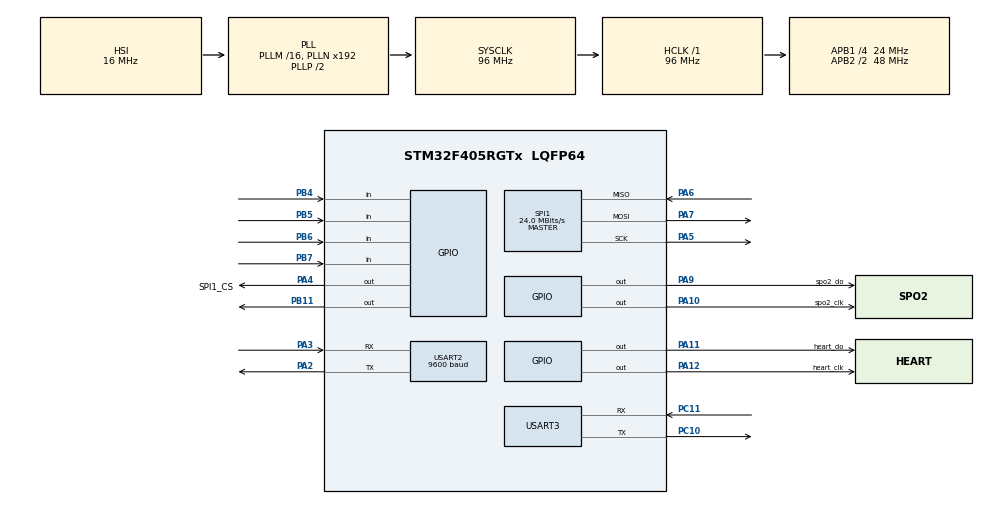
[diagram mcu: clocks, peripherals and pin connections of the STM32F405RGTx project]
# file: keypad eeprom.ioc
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Mcu.Family=STM32F4
Mcu.Name=STM32F405RGTx
Mcu.Package=LQFP64
NVIC.PriorityGroup=NVIC_PRIORITYGROUP_4
NVIC.SPI1_IRQn=true\:0\:0\:false\:false\:true\:true\:true\:true
NVIC.TIM3_IRQn=true\:15\:0\:false\:false\:true\:false\:true\:true
NVIC.TimeBase=TIM3_IRQn
NVIC.TimeBaseIP=TIM3
PA10.GPIO_Label=spo2_clk
PA10.Signal=GPIO_Output
PA11.GPIO_Label=heart_do
PA11.Signal=GPIO_Output
PA12.GPIO_Label=heart_clk
PA12.Signal=GPIO_Output
PA13.Mode=Serial_Wire
PA13.Signal=SYS_JTMS-SWDIO
PA14.Mode=Serial_Wire
PA14.Signal=SYS_JTCK-SWCLK
PA2.Mode=Asynchronous
PA2.Signal=USART2_TX
PA3.Mode=Asynchronous
PA3.Signal=USART2_RX
PA4.GPIO_Label=SPI1_CS
PA4.Signal=GPIO_Output
PA5.Mode=Full_Duplex_Master
PA5.Signal=SPI1_SCK
PA6.Mode=Full_Duplex_Master
PA6.Signal=SPI1_MISO
PA7.Mode=Full_Duplex_Master
PA7.Signal=SPI1_MOSI
PA9.GPIO_Label=spo2_do
PA9.Signal=GPIO_Output
PB11.Signal=GPIO_Output
PB4.Signal=GPIO_Input
PB5.Signal=GPIO_Input
PB6.Signal=GPIO_Input
PB7.Signal=GPIO_Input
PC10.Mode=Asynchronous
PC10.Signal=USART3_TX
PC11.Mode=Asynchronous
PC11.Signal=USART3_RX
ProjectManager.HeapSize=0x200
ProjectManager.StackSize=0x400
ProjectManager.TargetToolchain=STM32CubeIDE
RCC.AHBFreq_Value=96000000
RCC.APB1CLKDivider=RCC_HCLK_DIV4
RCC.APB1Freq_Value=24000000
RCC.APB1TimFreq_Value=48000000
RCC.APB2CLKDivider=RCC_HCLK_DIV2
RCC.APB2Freq_Value=48000000
RCC.APB2TimFreq_Value=96000000
RCC.CortexFreq_Value=96000000
RCC.HCLKFreq_Value=96000000
RCC.HSE_VALUE=25000000
RCC.HSI_VALUE=16000000
RCC.LSE_VALUE=32768
RCC.SYSCLKFreq_VALUE=96000000
RCC.SYSCLKSource=RCC_SYSCLKSOURCE_PLLCLK
RCC.VCOOutputFreq_Value=192000000
SPI1.BaudRatePrescaler=SPI_BAUDRATEPRESCALER_2
SPI1.CalculateBaudRate=24.0 MBits/s
SPI1.Direction=SPI_DIRECTION_2LINES
SPI1.Mode=SPI_MODE_MASTER
SPI1.VirtualType=VM_MASTER
USART2.BaudRate=9600
USART2.VirtualMode=VM_ASYNC
USART3.VirtualMode=VM_ASYNC
VP_SYS_VS_tim3.Mode=TIM3
board=custom

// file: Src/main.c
/* USER CODE BEGIN Header */
/**
  ******************************************************************************
  * @file           : main.c
  * @brief          : Main program body
  ******************************************************************************
  * @attention
  *
  * Copyright (c) 2025 STMicroelectronics.
  * All rights reserved.
  *
  * This software is licensed under terms that can be found in the LICENSE file
  * in the root directory of this software component.
  * If no LICENSE file comes with this software, it is provided AS-IS.
  *
  ******************************************************************************
  */
/* USER CODE END Header */
#include "main.h"
#include "spi.h"
#include "usart.h"
#include "gpio.h"

/* USER CODE BEGIN Includes */
#include "m95640_driver.h"
#include "FreeRTOS.h"
#include "task.h"
#include <stdio.h>
#include <string.h>
#include <stdbool.h>
#include "lcd.h"
#include "semphr.h"
#include "stm32f405xx.h"
#include "IR.h"
#include "hc05.h"
#include <stdint.h>
#include "tm1637.h"
SemaphoreHandle_t passkey_semaphore;
#define EEPROM_ADDRESS 0X0000  //
// === Keypad Configuration ===
const char keymap[4][4] = {
    {'1', '2', '3', 'A'},
    {'4', '5', '6', 'B'},
    {'7', '8', '9', 'C'},
    {'*', '0', '#', 'D'}
};
char key = 0;

uint32_t taskprofiler = 0;
/* USER CODE END Includes */

/* USER CODE BEGIN PTD */
void GPIO_Init(void);
void Task_Keypad(void *params);
char Keypad_Scan(void);
void displayTask(void *param);
void led_control(void);
void TempReadTask(void *params);

TM1637_Display spo2_display = {
		.clk_port = spo2_clk_GPIO_Port,
		.clk_pin = spo2_clk_Pin,
		.dio_port = spo2_do_GPIO_Port,
		.dio_pin = spo2_do_Pin,
		.brightness = 7
};
TM1637_Display heart_display = {
		.clk_port = heart_clk_GPIO_Port,
		.clk_pin = heart_clk_Pin,
		.dio_port = heart_do_GPIO_Port,
		.dio_pin = heart_do_Pin,
		.brightness = 7
};

// === GPIO Init ===
void GPIO_Init(void)
{
    RCC->AHB1ENR |= (1 << 0) | (1 << 1) | (1 << 2); // Enable GPIOA, GPIOB, GPIOC

    // PB2–PB5: Rows as output
    for (int i = 0; i < 4; i++) {
        GPIOB->MODER &= ~(3 << (i * 2));
        GPIOB->MODER |= (1 << (i * 2));
        GPIOB->ODR |= (1 << i); // Set high
    }

    // PB6–PB7: Columns as input pull-up
    for (int i = 4; i < 8; i++) {
        GPIOB->MODER &= ~(3 << (i * 2));
        GPIOB->PUPDR &= ~(3 << (i * 2));
        GPIOB->PUPDR |= (1 << (i * 2));
    }
    for (int i = 0; i <= 5; i++)
    GPIOC->MODER |= (1 << (i * 2));  // PCx as output

    // PC9 (Green) and PC10 (Red): LED output
    GPIOC->MODER &= ~(3 << (8 * 2));
    GPIOC->MODER |= (1 << (8 * 2));
    GPIOC->MODER &= ~(3 << (12 * 2));
    GPIOC->MODER |= (1 << (12 * 2));
}

// === LED Bar Graph Based on ADC Input ===
void led_control(void)
{
    //GPIOC->ODR &= ~((1 << 0) | (1 << 1) | (1 << 3) | (1 << 4) | (1 << 5)); // Clear PC0,1,3,4,5
    GPIOC->ODR |= (1 << 0) | (1 << 1) | (1 << 3) | (1 << 4) | (1 << 5);
//    if (adc_value < 300) {
//        GPIOC->ODR |= (1 << 0) | (1 << 1) | (1 << 3) | (1 << 4) | (1 << 5);
//    }
//    else if (adc_value < 500) {
//        GPIOC->ODR |= (1 << 0) | (1 << 1) | (1 << 3) | (1 << 4);
//    }
//    else if (adc_value < 1000) {
//        GPIOC->ODR |= (1 << 0) | (1 << 1) | (1 << 3);
//    }
//    else if (adc_value < 1500) {
//        GPIOC->ODR |= (1 << 0) | (1 << 1);
//    }
//    else if (adc_value < 2000) {
//        GPIOC->ODR |= (1 << 0);
//    }
//    else {
//        // No LEDs ON for adc >= 2000 (brightest)
//    }
}

// === Keypad Scan ===
char Keypad_Scan(void)
{
    const uint8_t row_pins[4] = {0, 1, 2, 3};        // PB2–PB5
    const uint8_t col_pins_B[4] = {4, 5, 6, 7};      // PB6–PB7

    for (int row = 0; row < 4; row++)
    {
        // Set all rows high first
        for (int r = 0; r < 4; r++)
            GPIOB->ODR |= (1 << row_pins[r]);

        // Pull current row low
        GPIOB->ODR &= ~(1 << row_pins[row]);

        vTaskDelay(pdMS_TO_TICKS(2)); // Debounce

        // Check PB6, PB7 (Columns)
        for (int col = 0; col < 4; col++)
        {
        	if ((GPIOB->IDR & (1 << col_pins_B[col])) == 0)
        	{
        	    vTaskDelay(pdMS_TO_TICKS(20));  // Debounce delay

        	    if ((GPIOB->IDR & (1 << col_pins_B[col])) == 0)  // Confirm key still pressed
        	    {
        	        while ((GPIOB->IDR & (1 << col_pins_B[col])) == 0); // Wait for release
        	        return keymap[row][col];
        	    }
        	}

        }
    }

    return 0; // No key press detected
}

uint8_t rx_buffer[4];

/* USER CODE END PTD */

/* USER CODE BEGIN PD */
// === Keypad Scan ===

void Task_Keypad(void *params)

{
    char entered[5] = {0};      // 4 digits + null
    char stored_pass[5] = {0};
    char key = 0;
    int key_index = 0;
    lprint(0x80, "Welcome");
    vTaskDelay(pdMS_TO_TICKS(1000));
    char string_to_write[5] = "1234";
    EepromWriteBuffer_HAL(EEPROM_ADDRESS, (uint8_t*)string_to_write, strlen(string_to_write) + 1);
    // Read 4-digit password from EEPROM (address 0x0000)
    EepromReadBuffer_HAL(0x0000, (uint8_t *)stored_pass, 4);
    stored_pass[4] = '\0';
    while (1)
    {
        key_index = 0;
        memset(entered, 0, sizeof(entered));
        lprint(0x80, "Press * to Start   ");
        while ((key = Keypad_Scan()) != '*') {
        vTaskDelay(pdMS_TO_TICKS(50));
        }
        lprint(0x80, "Security Code:   ");
        lprint(0xC0, "                 ");
        while (1)
        {
            key = Keypad_Scan();
            if (key != 0)
            {
                if (key == '#' && key_index == 4)
                {
                    entered[4] = '\0';
                    if (strncmp(entered, stored_pass, 4) == 0)
                    {
                        lprint(0x80, "Access Granted   ");
                        GPIOC->ODR |= (1 << 8);   // GREEN ON
                        GPIOC->ODR &= ~(1 << 12); // RED OFF
                        vTaskDelay(pdMS_TO_TICKS(2000));
                        GPIOC->ODR &= ~(1 << 8); // GREEN OFF
                        // Show Menu
                        lprint(0x80, "Menu: A=Chg Pwd  ");
                        lprint(0xC0, "B=Enter System   ");
                        while (1)
                        {
                            key = Keypad_Scan();
                            if (key == 'A') {
                            lprint(0x80, "New 4-digit code:  ");
                            lprint(0xC0, "                 ");
							key_index = 0;
							memset(entered, 0, sizeof(entered));
                                while (1) {
                                    key = Keypad_Scan();
                                    if (key && key != '#' && key_index < 4) {
                                        entered[key_index++] = key;
                                        char buf[17] = "Entered:         ";
                                        strncpy(&buf[9], entered, key_index);
                                        buf[9 + key_index] = '\0';
                                        lprint(0xC0, buf);
                                    } else if (key == '#' && key_index == 4) {
                                        // Save to EEPROM
                                        EepromWriteBuffer_HAL(0x0000, (uint8_t *)entered, 4);
                                        strncpy(stored_pass, entered, 5);
                                        lprint(0x80, "Password Changed! ");
                                        lprint(0xC0, "                 ");
                                        vTaskDelay(pdMS_TO_TICKS(2000));
                                        break;
                                    }
                                    vTaskDelay(pdMS_TO_TICKS(50));
                                }
                                break; // Exit menu
                            } else if (key == 'B') {
                            	GPIOC->ODR |= (1 << 8);   // GREEN ON
                                lprint(0x80, "Entering System...    ");
                                lprint(0xC0, "                 ");
//                                xSemaphoreGive(passkey_semaphore);
                                xTaskCreate(TempReadTask, "TempTask", 256, NULL, 1, NULL);
                                vTaskDelay(pdMS_TO_TICKS(2000));
                                // Add system logic here
                                vTaskDelete(NULL);
                            }
                            vTaskDelay(pdMS_TO_TICKS(50));
                        }
                        break; // Go back to login screen
                    }
                    else
                    {
                        lprint(0x80, "Access Denied!     ");
                        lprint(0xC0, "                 ");
                        GPIOC->ODR |= (1 << 12);  // RED ON
                        GPIOC->ODR &= ~(1 << 8);  // GREEN OFF
                        vTaskDelay(pdMS_TO_TICKS(2000));
                        GPIOC->ODR &= ~(1 << 10); // RED OFF
                        break;
                    }
                }
                else if (key_index < 4 && key >= '0' && key <= '9')
                {
                    entered[key_index++] = key;
                    char buf[17] = "Entered:         ";
                    strncpy(&buf[9], entered, key_index);
                    buf[9 + key_index] = '\0';
                    lprint(0xC0, buf);
                }
            }
            vTaskDelay(pdMS_TO_TICKS(50));
        }
    }
}
/* USER CODE END PD */

/* USER CODE BEGIN PM */
void TempReadTask(void *params) {
//	xSemaphoreTake(passkey_semaphore, portMAX_DELAY);
    char buffer[32];
    int temp;

    IR_Init();
    LcdInit();

    while (1) {
        temp = (int)IR_ReadTemperature();
        sprintf(buffer, "Temp: %d C      \r\n", temp);

        lprint(0x80, buffer);

        HAL_UART_Transmit(&huart2, (uint8_t*)buffer, strlen(buffer), HAL_MAX_DELAY);

        taskprofiler++;

        vTaskDelay(pdMS_TO_TICKS(1000));
    }
}

/* USER CODE END PM */

void SystemClock_Config(void);

int main(void)
{

  /* MCU Configuration--------------------------------------------------------*/

  /* Reset of all peripherals, Initializes the Flash interface and the Systick. */
  HAL_Init();

  /* USER CODE BEGIN Init */
//  passkey_semaphore = xSemaphoreCreateBinary();
  /* USER CODE END Init */

  /* Configure the system clock */
  SystemClock_Config();

  /* Initialize all configured peripherals */
  MX_GPIO_Init();
  MX_SPI1_Init();
  MX_USART2_UART_Init();
  MX_USART3_UART_Init();
  /* USER CODE BEGIN 2 */
  GPIO_Init();
  LcdInit();
  SpiEepromInit_HAL();
  TM1637_Init(&spo2_display);
  TM1637_Init(&heart_display);

  // Create Task

  xTaskCreate(Task_Keypad, "Keypad", 256, NULL, 2, NULL);
//  xTaskCreate(displayTask, "display", 128, NULL, 1, NULL);

    // Start Scheduler

    vTaskStartScheduler();
  /* USER CODE END 2 */

  /* Infinite loop */
  while (1)
  {

  }
}

void SystemClock_Config(void)
{
  RCC_OscInitTypeDef RCC_OscInitStruct = {0};
  RCC_ClkInitTypeDef RCC_ClkInitStruct = {0};

  /** Configure the main internal regulator output voltage
  */
  __HAL_RCC_PWR_CLK_ENABLE();
  __HAL_PWR_VOLTAGESCALING_CONFIG(PWR_REGULATOR_VOLTAGE_SCALE1);

  /** Initializes the RCC Oscillators according to the specified parameters
  * in the RCC_OscInitTypeDef structure.
  */
  RCC_OscInitStruct.OscillatorType = RCC_OSCILLATORTYPE_HSI;
  RCC_OscInitStruct.HSIState = RCC_HSI_ON;
  RCC_OscInitStruct.HSICalibrationValue = RCC_HSICALIBRATION_DEFAULT;
  RCC_OscInitStruct.PLL.PLLState = RCC_PLL_ON;
  RCC_OscInitStruct.PLL.PLLSource = RCC_PLLSOURCE_HSI;
  RCC_OscInitStruct.PLL.PLLM = 16;
  RCC_OscInitStruct.PLL.PLLN = 192;
  RCC_OscInitStruct.PLL.PLLP = RCC_PLLP_DIV2;
  RCC_OscInitStruct.PLL.PLLQ = 4;
  if (HAL_RCC_OscConfig(&RCC_OscInitStruct) != HAL_OK)
  {
    Error_Handler();
  }

  /** Initializes the CPU, AHB and APB buses clocks
  */
  RCC_ClkInitStruct.ClockType = RCC_CLOCKTYPE_HCLK|RCC_CLOCKTYPE_SYSCLK
                              |RCC_CLOCKTYPE_PCLK1|RCC_CLOCKTYPE_PCLK2;
  RCC_ClkInitStruct.SYSCLKSource = RCC_SYSCLKSOURCE_PLLCLK;
  RCC_ClkInitStruct.AHBCLKDivider = RCC_SYSCLK_DIV1;
  RCC_ClkInitStruct.APB1CLKDivider = RCC_HCLK_DIV4;
  RCC_ClkInitStruct.APB2CLKDivider = RCC_HCLK_DIV2;

  if (HAL_RCC_ClockConfig(&RCC_ClkInitStruct, FLASH_LATENCY_3) != HAL_OK)
  {
    Error_Handler();
  }
}

void HAL_TIM_PeriodElapsedCallback(TIM_HandleTypeDef *htim)
{
  if (htim->Instance == TIM3) {
    HAL_IncTick();
  }
}

void Error_Handler(void)
{
  __disable_irq();
  while (1)
  {
  }
}
